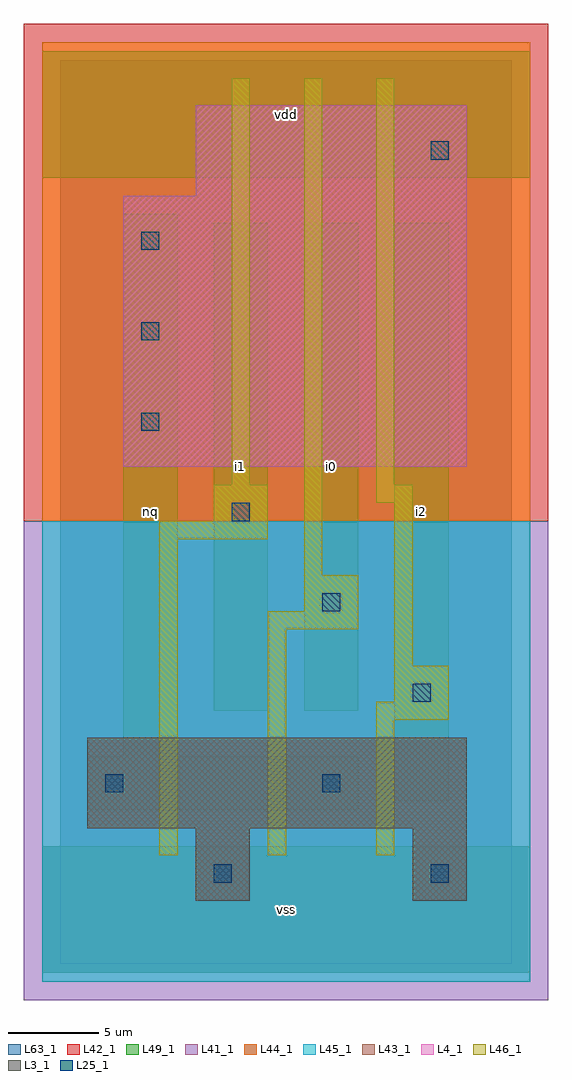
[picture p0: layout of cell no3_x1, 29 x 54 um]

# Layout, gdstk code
import gdstk
lib = gdstk.Library(unit=1e-6, precision=1e-09)
def R(c, l, rs):  # rectangles x0, y0, x1, y1
    for r in rs: c.add(gdstk.rectangle(r[:2], r[2:], *l))
def A(c, l, x, y, w, h, nx, ny, dx, dy):  # array of equal rectangles
    R(c, l, [(x+i*dx, y+j*dy, x+i*dx+w, y+j*dy+h) for i in range(nx) for j in range(ny)])
L3_1 = (3, 1)
L4_1 = (4, 1)
L25_1 = (25, 1)
L41_1 = (41, 1)
L42_1 = (42, 1)
L43_1 = (43, 1)
L44_1 = (44, 1)
L45_1 = (45, 1)
L46_1 = (46, 1)
L49_1 = (49, 1)
L63_1 = (63, 1)

no3_x1 = lib.new_cell('no3_x1')
R(no3_x1, L3_1, [(7.5,3.5,10.5,7.5), (19.5,3.5,22.5,7.5), (1.5,7.5,22.5,12.5)])
R(no3_x1, L4_1, [(3.5,27.5,22.5,42.5), (7.5,42.5,22.5,47.5)])
A(no3_x1, L25_1, 4.5, 29.5, 1, 1, 1, 3, 0, 5)
R(no3_x1, L25_1, [(8.5,4.5,9.5,5.5), (20.5,4.5,21.5,5.5), (2.5,9.5,3.5,10.5), (14.5,9.5,15.5,10.5), (19.5,14.5,20.5,15.5), (14.5,19.5,15.5,20.5), (9.5,24.5,10.5,25.5), (20.5,44.5,21.5,45.5)])
R(no3_x1, L41_1, [(-2,-2,27,24.5)])
R(no3_x1, L42_1, [(-2,24.5,27,52)])
R(no3_x1, L43_1, [(7.5,3.5,10.5,7.5), (19.5,3.5,22.5,7.5), (1.5,7.5,22.5,12.5), (3.5,27.5,22.5,42.5), (7.5,42.5,22.5,47.5)])
R(no3_x1, L44_1, [(-1,24.5,26,51)])
R(no3_x1, L45_1, [(-1,-1,26,24.5)])
R(no3_x1, L46_1, [(5.5,6,6.5,23.5), (11.5,6,12.5,18.5), (17.5,6,18.5,13.5), (17.5,13.5,21.5,14.5), (18.5,14.5,21.5,16.5), (18.5,16.5,19.5,25.5), (11.5,18.5,16.5,19.5), (13.5,19.5,16.5,21.5), (13.5,21.5,14.5,49), (5.5,23.5,11.5,24.5), (8.5,24.5,11.5,26.5), (17.5,25.5,19.5,26.5), (9.5,26.5,10.5,49), (17.5,26.5,18.5,49)])
R(no3_x1, L49_1, [(-1,-0.5,26,6.5), (1.5,8.5,16.5,11.5), (18.5,9,21.5,41), (3.5,11.5,6.5,41.5), (8.5,14,11.5,41), (13.5,14,16.5,41), (-1,43.5,26,50.5)])
R(no3_x1, L63_1, [(0,0,25,50)])
no3_x1.add(gdstk.Label('nq', (5,25), layer=49, texttype=1))
no3_x1.add(gdstk.Label('nq', (5,25), layer=49, texttype=1))
no3_x1.add(gdstk.Label('i1', (10,27.5), layer=49, texttype=1))
no3_x1.add(gdstk.Label('i1', (10,27.5), layer=49, texttype=1))
no3_x1.add(gdstk.Label('vss', (12.5,3), layer=49, texttype=1))
no3_x1.add(gdstk.Label('vss', (12.5,3), layer=49, texttype=1))
no3_x1.add(gdstk.Label('i0', (15,27.5), layer=49, texttype=1))
no3_x1.add(gdstk.Label('i0', (15,27.5), layer=49, texttype=1))
no3_x1.add(gdstk.Label('vdd', (12.5,47), layer=49, texttype=1))
no3_x1.add(gdstk.Label('vdd', (12.5,47), layer=49, texttype=1))
no3_x1.add(gdstk.Label('i2', (20,25), layer=49, texttype=1))
no3_x1.add(gdstk.Label('i2', (20,25), layer=49, texttype=1))

lib.write_gds('no3_x1.gds')
